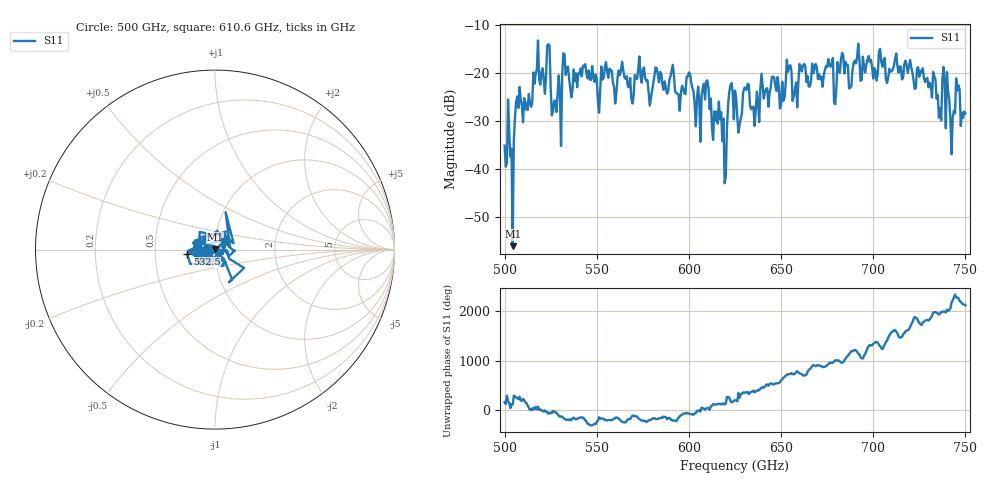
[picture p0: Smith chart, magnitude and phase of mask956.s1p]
!Created with skrf (http://scikit-rf.org).
# GHz S MA R 50.0
!freq magS11 angS11
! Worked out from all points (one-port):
!   401 points, 500 GHz to 750 GHz, reference 50 ohm
!   lowest |S11| = -56.1 dB at 504.4 GHz (marker M1), VSWR 1.00, Z = 49.9 + j0.138 ohm
!   |S11| at or under -10 dB: start of sweep to end of sweep
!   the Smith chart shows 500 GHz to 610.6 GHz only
!   S11 on the Smith chart (normalised r, x): 500 GHz: 0.97, +0.01; 532.5 GHz: 0.73, -0.04; 610.6 GHz: 1.10, +0.11
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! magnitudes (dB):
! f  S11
! 500 GHz  -35.2
! 504.4 GHz  -56.1
! 506.9 GHz  -24.9
! 513.8 GHz  -26.2
! 516.9 GHz  -20.2
! 523.8 GHz  -14.1
! 526.9 GHz  -25.8
! 531.2 GHz  -20.3
! 532.5 GHz  -16.1
! 550.6 GHz  -25.9
! 562.5 GHz  -20.5
! 579.4 GHz  -25.3
! 590.6 GHz  -19.5
! 593.8 GHz  -24.4
! 610.6 GHz  -23.1
! 619.4 GHz  -43.0
! 622.5 GHz  -22.7
! 625 GHz  -23.7
! 656.2 GHz  -25.9
! 683.8 GHz  -16.5
! 687.5 GHz  -23.1
! 691.2 GHz  -16.8
! 718.8 GHz  -20.1
! 735.6 GHz  -29.3
! 738.8 GHz  -21.8
! 743.1 GHz  -29.3
! 745.6 GHz  -23.7
! 750 GHz  -28.4
